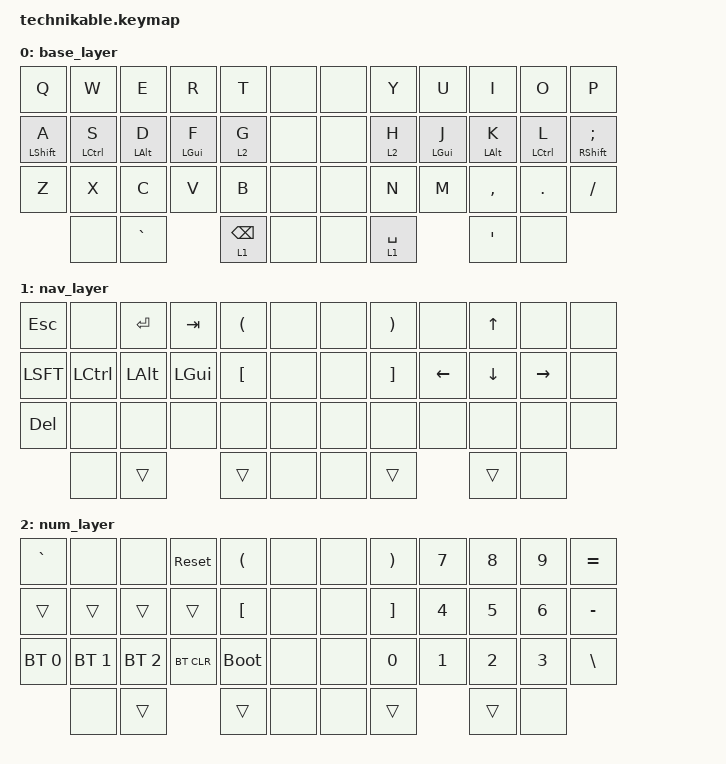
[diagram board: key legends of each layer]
/*
 * Copyright (c) 2022 Pete Johanson
 *
 * SPDX-License-Identifier: MIT
 */

#include <behaviors.dtsi>
#include <dt-bindings/zmk/keys.h>
#include <dt-bindings/zmk/bt.h>
#include <dt-bindings/zmk/outputs.h>

#define QWERTY_BASE 1

#define TBLE_ORTHO   true
// #define TBLE_MIT     true
// #define TBLE_DUAL_2U true

#define BAS_L 0
#define NAV_L 1
#define NUM_L 2
#define SYM_L 3

// Using layer taps on thumbs, having quick tap as well helps w/ repeating space/backspace
&lt { quick_tap_ms = <200>; };
&mt { tapping-term-ms = <200>; };

#define BT(n) BT_SEL n

/ {
    chosen {
       zmk,physical-layout = &technikable_ortho_layout;
    };
    
    behaviors {
                hm: homerow_mods {
                        compatible = "zmk,behavior-hold-tap";
                        label = "HOMEROW_MODS";
                        #binding-cells = <2>;
                        tapping-term-ms = <190>;
                        quick-tap-ms = <0>;
                        flavor = "tap-preferred";
                        bindings = <&kp>, <&kp>;
                };
                hl: homerow_layers {
                        compatible = "zmk,behavior-hold-tap";
                        label = "HOMEROW_LAYERS";
                        #binding-cells = <2>;
                        tapping-term-ms = <190>;
                        quick-tap-ms = <0>;
                        flavor = "tap-preferred";
                        bindings = <&mo>, <&kp>;
                };
        };

        keymap {
                compatible = "zmk,keymap";
                
        base_layer {
                bindings = <
                        &kp Q         &kp W         &kp E         &kp R         &kp T         &none &none     &kp Y         &kp U         &kp I         &kp O         &kp P
                        &hm LSHFT A   &hm LCTRL S   &hm LALT D    &hm LGUI F    &hl 2 G       &none &none     &hl 2 H       &hm LGUI J    &hm LALT K    &hm LCTRL L   &hm RSHFT SEMI
                        &kp Z         &kp X         &kp C         &kp V         &kp B         &none &none     &kp N         &kp M         &kp COMMA     &kp DOT       &kp FSLH
                                      &none         &kp GRAVE                   &lt 1 BSPC    &none &none     &lt 1 SPACE                 &kp SQT       &none
                >;
         };

        nav_layer {
                bindings = <
                        &kp ESC       &none         &kp RET        &kp TAB       &kp LPAR     &none &none     &kp RPAR      &none         &kp UP       &none          &none 
                        &kp LSFT      &kp LCTRL     &kp LALT       &kp LGUI      &kp LBKT     &none &none     &kp RBKT      &kp LEFT      &kp DOWN     &kp RIGHT      &none
                        &kp DEL       &none         &none          &none         &none        &none &none     &none         &none         &none        &none          &none
                                      &none         &trans                       &trans       &none &none     &trans                      &trans       &none
                >;
         };

         num_layer {
                bindings = <
                        &kp GRAVE     &none        &none           &sys_reset    &kp LPAR     &none &none      &kp RPAR      &kp N7         &kp N8      &kp N9          &kp EQUAL
                        &trans        &trans       &trans          &trans        &kp LBKT     &none &none      &kp RBKT      &kp N4         &kp N5      &kp N6          &kp MINUS
                        &bt BT_SEL 0  &bt BT_SEL 1 &bt BT_SEL 2    &bt BT_CLR    &bootloader  &none &none      &kp N0        &kp N1         &kp N2      &kp N3          &kp BSLH
                                      &none        &trans                        &trans       &none &none      &trans                       &trans      &none
                >;
         };

    };
};

